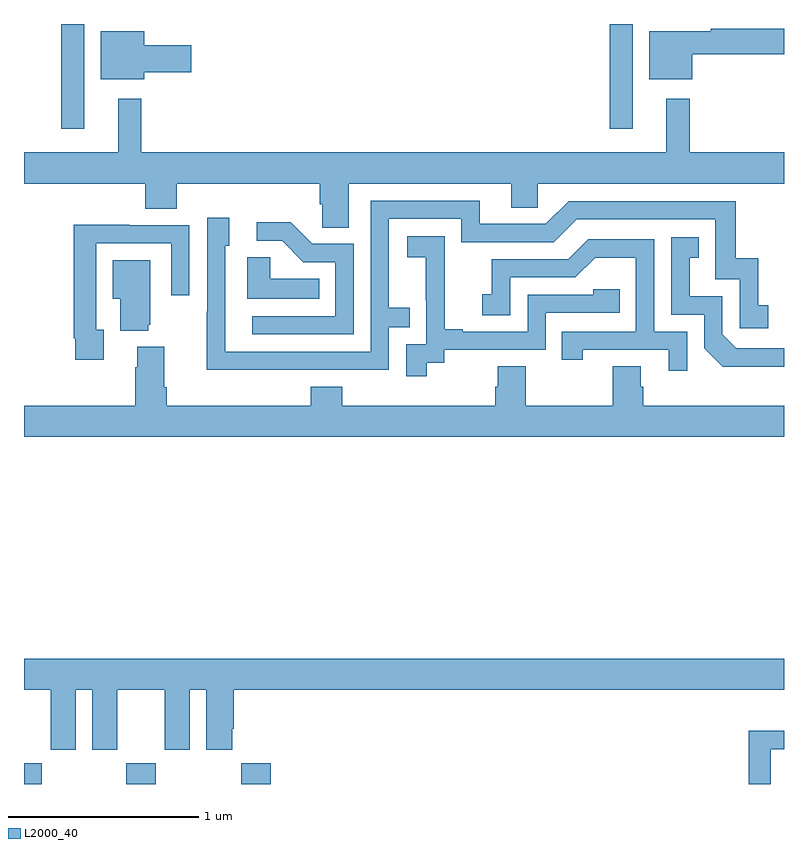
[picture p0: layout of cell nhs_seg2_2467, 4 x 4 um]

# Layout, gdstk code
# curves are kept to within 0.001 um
import gdstk
lib = gdstk.Library(unit=1e-6, precision=1e-09)
def R(c, l, rs):  # rectangles x0, y0, x1, y1
    for r in rs: c.add(gdstk.rectangle(r[:2], r[2:], *l))
def P(c, l, *ps):  # polygons
    for p in ps: c.add(gdstk.Polygon(p, *l))
L2000_40 = (2000, 40)

nhs_seg2_2467 = lib.new_cell('nhs_seg2_2467')
R(nhs_seg2_2467, L2000_40, [(239,653.8,239.094,653.908), (239.539,653.8,239.694,653.908), (240.143,653.8,240.299,653.908), (239.196,657.249,239.317,657.8), (242.082,657.249,242.203,657.8)])
P(nhs_seg2_2467, L2000_40, [(242.518,657.64),(243,657.64),(243,657.776),(242.614,657.776),(242.614,657.763),(242.291,657.763),(242.291,657.509),(242.518,657.509)],
  [(239.632,657.547),(239.881,657.547),(239.881,657.689),(239.632,657.689),(239.632,657.763),(239.405,657.763),(239.405,657.509),(239.632,657.509)],
  [(240.709,656.96),(241.565,656.96),(241.565,656.833),(241.704,656.833),(241.704,656.96),(243,656.96),(243,657.124),(242.503,657.124),(242.503,657.406),(242.381,657.406),(242.381,657.124),(239.617,657.124),(239.617,657.406),(239.495,657.406),(239.495,657.124),(239,657.124),(239,656.96),(239.639,656.96),(239.639,656.827),(239.804,656.827),(239.804,656.96),(240.557,656.96),(240.557,656.851),(240.57,656.851),(240.57,656.728),(240.709,656.728)],
  [(240.425,655.98),(240.921,655.98),(240.921,656.205),(241.031,656.205),(241.031,656.306),(240.921,656.306),(240.921,656.775),(241.302,656.775),(241.302,656.652),(241.788,656.652),(241.908,656.772),(242.637,656.772),(242.637,656.457),(242.766,656.457),(242.766,656.199),(242.917,656.199),(242.917,656.319),(242.864,656.319),(242.864,656.566),(242.746,656.566),(242.746,656.868),(241.866,656.868),(241.746,656.748),(241.399,656.748),(241.399,656.871),(240.825,656.871),(240.825,656.076),(240.06,656.076),(240.06,656.634),(240.079,656.634),(240.079,656.779),(239.964,656.779),(239.964,656.285),(239.962,656.285),(239.962,655.979)],
  [(240.735,656.643),(240.516,656.643),(240.403,656.756),(240.225,656.756),(240.225,656.658),(240.359,656.658),(240.47,656.547),(240.639,656.547),(240.639,656.262),(240.201,656.262),(240.201,656.166),(240.735,656.166)],
  [(239.419,656.19),(239.379,656.19),(239.379,656.646),(239.775,656.646),(239.775,656.373),(239.871,656.373),(239.871,656.742),(239.555,656.742),(239.555,656.744),(239.263,656.744),(239.263,656.146),(239.271,656.146),(239.271,656.034),(239.419,656.034)],
  [(241.12,656.017),(241.212,656.017),(241.212,656.085),(241.746,656.085),(241.746,656.28),(242.135,656.28),(242.135,656.403),(241.995,656.403),(241.995,656.376),(241.65,656.376),(241.65,656.181),(241.309,656.181),(241.309,656.194),(241.214,656.194),(241.214,656.477),(241.215,656.477),(241.215,656.683),(241.017,656.683),(241.017,656.573),(241.115,656.573),(241.115,656.345),(241.116,656.345),(241.116,656.115),(241.011,656.115),(241.011,655.947),(241.12,655.947)],
  [(243,656.094),(242.748,656.094),(242.676,656.166),(242.676,656.367),(242.503,656.367),(242.503,656.571),(242.552,656.571),(242.552,656.677),(242.406,656.677),(242.406,656.271),(242.58,656.271),(242.58,656.094),(242.678,655.997),(243,655.997)],
  [(242.49,656.181),(242.316,656.181),(242.316,656.667),(241.97,656.667),(241.865,656.562),(241.462,656.562),(241.462,656.377),(241.413,656.377),(241.413,656.268),(241.56,656.268),(241.56,656.466),(241.902,656.466),(242.006,656.57),(242.22,656.57),(242.22,656.181),(241.831,656.181),(241.831,656.034),(241.942,656.034),(241.942,656.085),(242.393,656.085),(242.393,655.974),(242.49,655.974)],
  [(240.554,656.458),(240.297,656.458),(240.297,656.573),(240.176,656.573),(240.176,656.354),(240.554,656.354)],
  [(239.654,656.217),(239.665,656.217),(239.665,656.557),(239.468,656.557),(239.468,656.354),(239.507,656.354),(239.507,656.186),(239.654,656.186)],
  [(243,655.792),(242.258,655.792),(242.258,655.89),(242.245,655.89),(242.245,656),(242.098,656),(242.098,655.792),(241.641,655.792),(241.641,656),(241.493,656),(241.493,655.89),(241.481,655.89),(241.481,655.792),(240.674,655.792),(240.674,655.891),(240.509,655.891),(240.509,655.792),(239.75,655.792),(239.75,655.888),(239.737,655.888),(239.737,656.101),(239.597,656.101),(239.597,655.994),(239.585,655.994),(239.585,655.792),(239,655.792),(239,655.628),(243,655.628)],
  [(239,654.296),(239.141,654.296),(239.141,653.979),(239.272,653.979),(239.272,654.296),(239.36,654.296),(239.36,653.979),(239.491,653.979),(239.491,654.296),(239.741,654.296),(239.741,653.979),(239.872,653.979),(239.872,654.296),(239.96,654.296),(239.96,653.979),(240.097,653.979),(240.097,654.091),(240.104,654.091),(240.104,654.296),(243,654.296),(243,654.46),(239,654.46)],
  [(242.931,653.982),(243,653.982),(243,654.08),(242.815,654.08),(242.815,653.8),(242.931,653.8)])

lib.write_gds('nhs_seg2_2467.gds')
